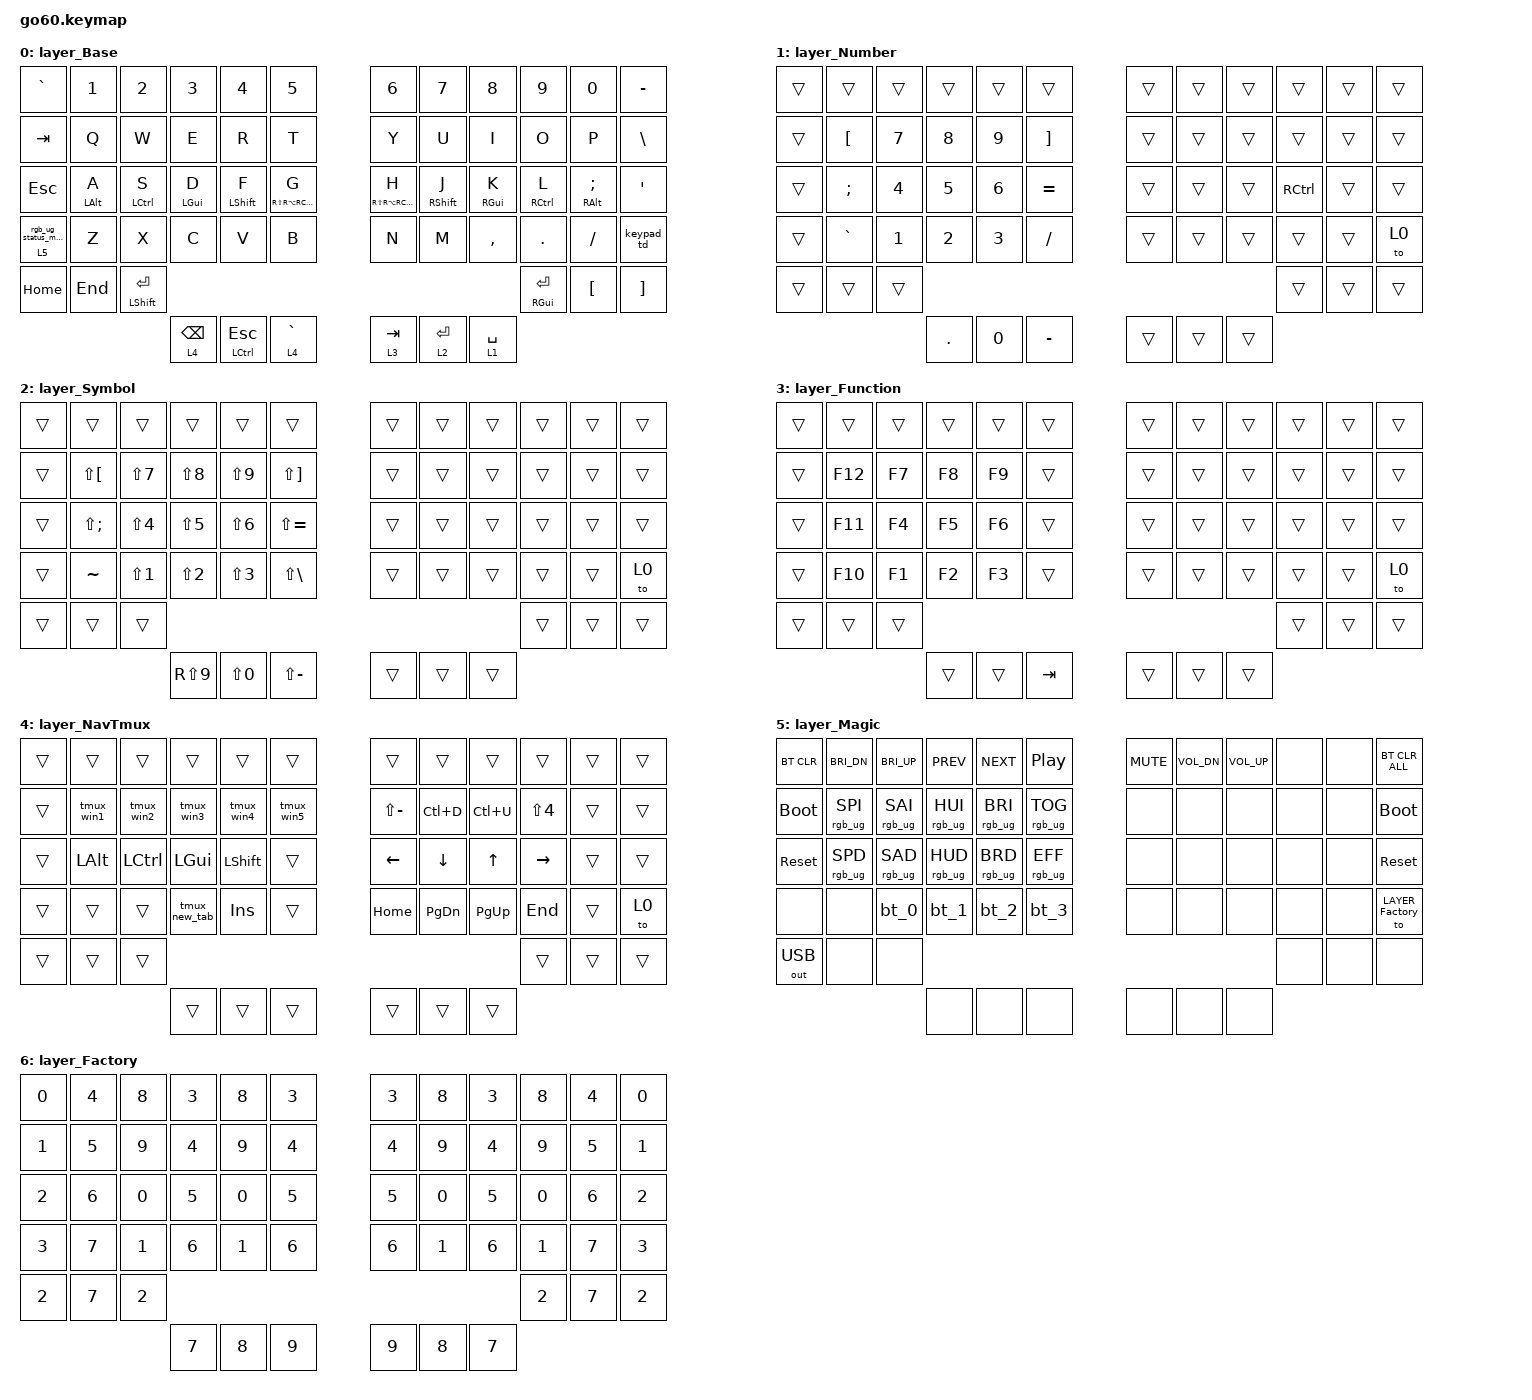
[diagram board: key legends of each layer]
/*
 * Copyright (c) 2020 The ZMK Contributors
 *
 * SPDX-License-Identifier: MIT
 */

#include <dt-bindings/zmk/input_transform.h>
#include <input/processors.dtsi>
#include <zephyr/dt-bindings/input/input-event-codes.h>
#include <behaviors.dtsi>
#include <dt-bindings/zmk/bt.h>
#include <dt-bindings/zmk/keys.h>
#include <dt-bindings/zmk/outputs.h>
#include <dt-bindings/zmk/rgb.h>

// layers

#define LAYER_Base 0
#define LAYER_Number 1
#define LAYER_Symbol 2
#define LAYER_Function 3
#define LAYER_NavTmux 4
#define LAYER_Mouse 5
#define LAYER_Magic 6
#define LAYER_Factory 7

/ {
    input_processors {
        zip_click_to_right_click_mapper: zip_click_to_right_click_mapper {
            compatible = "zmk,input-processor-code-mapper";
            #input-processor-cells = <0>;
            type = <INPUT_EV_KEY>;
            map = <INPUT_BTN_0 INPUT_BTN_1>;
        };
    };

    behaviors {
        magic: magic {
            compatible = "zmk,behavior-hold-tap";
            #binding-cells = <2>;
            flavor = "tap-preferred";
            tapping-term-ms = <200>;
            bindings = <&mo>, <&rgb_ug_status_macro>;
        };

        keypad_td: keypad_td {
            compatible = "zmk,behavior-tap-dance";
            #binding-cells = <0>;
            tapping-term-ms = <200>;
            bindings = <&mo 1>, <&to 1>;
        };

        mt_default: mt_default {
            compatible = "zmk,behavior-hold-tap";
            #binding-cells = <2>;
            tapping-term-ms = <200>;
            bindings = <&kp>, <&kp>;

            flavor = "balanced";
            quick-tap-ms = <150>;
            hold-trigger-key-positions = <>;
        };

        mt_slow: mt_slow {
            compatible = "zmk,behavior-hold-tap";
            #binding-cells = <2>;
            tapping-term-ms = <250>;
            bindings = <&kp>, <&kp>;

            flavor = "balanced";
            quick-tap-ms = <180>;
            hold-trigger-key-positions = <>;
            label = "MT_SLOW";
        };

        lt_qt: lt_qt {
            compatible = "zmk,behavior-hold-tap";
            #binding-cells = <2>;
            tapping-term-ms = <200>;
            bindings = <&mo>, <&kp>;

            flavor = "balanced";
            quick-tap-ms = <150>;
            hold-trigger-key-positions = <>;
            label = "LT_QT";
        };

        bt_0: bt_0 {
            compatible = "zmk,behavior-tap-dance";
            #binding-cells = <0>;
            tapping-term-ms = <200>;
            bindings = <&bt_select_0>, <&bt BT_DISC 0>;
        };

        bt_1: bt_1 {
            compatible = "zmk,behavior-tap-dance";
            #binding-cells = <0>;
            tapping-term-ms = <200>;
            bindings = <&bt_select_1>, <&bt BT_DISC 1>;
        };

        bt_2: bt_2 {
            compatible = "zmk,behavior-tap-dance";
            #binding-cells = <0>;
            tapping-term-ms = <200>;
            bindings = <&bt_select_2>, <&bt BT_DISC 2>;
        };

        bt_3: bt_3 {
            compatible = "zmk,behavior-tap-dance";
            #binding-cells = <0>;
            tapping-term-ms = <200>;
            bindings = <&bt_select_3>, <&bt BT_DISC 3>;
        };
    };

    macros {
        rgb_ug_status_macro: rgb_ug_status_macro {
            compatible = "zmk,behavior-macro";
            #binding-cells = <0>;
            bindings = <&rgb_ug RGB_STATUS>;
        };

        bt_select_0: bt_select_0 {
            compatible = "zmk,behavior-macro";
            #binding-cells = <0>;
            bindings = <&out OUT_BLE &bt BT_SEL 0>;
        };

        bt_select_1: bt_select_1 {
            compatible = "zmk,behavior-macro";
            #binding-cells = <0>;
            bindings = <&out OUT_BLE &bt BT_SEL 1>;
        };

        bt_select_2: bt_select_2 {
            compatible = "zmk,behavior-macro";
            #binding-cells = <0>;
            bindings = <&out OUT_BLE &bt BT_SEL 2>;
        };

        bt_select_3: bt_select_3 {
            compatible = "zmk,behavior-macro";
            #binding-cells = <0>;
            bindings = <&out OUT_BLE &bt BT_SEL 3>;
        };

        tmux_prefix: tmux_prefix {
            compatible = "zmk,behavior-macro";
            #binding-cells = <0>;
            bindings = <&kp LC(A)>;
        };

        tmux_win1: tmux_win1 {
            compatible = "zmk,behavior-macro";
            #binding-cells = <0>;
            bindings = <&tmux_prefix &kp N1>;
        };

        tmux_win2: tmux_win2 {
            compatible = "zmk,behavior-macro";
            #binding-cells = <0>;
            bindings = <&tmux_prefix &kp N2>;
        };

        tmux_win3: tmux_win3 {
            compatible = "zmk,behavior-macro";
            #binding-cells = <0>;
            bindings = <&tmux_prefix &kp N3>;
        };

        tmux_win4: tmux_win4 {
            compatible = "zmk,behavior-macro";
            #binding-cells = <0>;
            bindings = <&tmux_prefix &kp N4>;
        };

        tmux_win5: tmux_win5 {
            compatible = "zmk,behavior-macro";
            #binding-cells = <0>;
            bindings = <&tmux_prefix &kp N5>;
        };

        tmux_new_tab: tmux_new_tab {
            compatible = "zmk,behavior-macro";
            #binding-cells = <0>;
            bindings = <&tmux_prefix &kp C>;
        };

        tmux_sessions: tmux_sessions {
            compatible = "zmk,behavior-macro";
            #binding-cells = <0>;
            bindings = <&tmux_prefix &kp S>;
        };

        tmux_detach: tmux_detach {
            compatible = "zmk,behavior-macro";
            #binding-cells = <0>;
            bindings = <&tmux_prefix &kp D>;
        };

        tmux_rename: tmux_rename {
            compatible = "zmk,behavior-macro";
            #binding-cells = <0>;
            bindings = <&tmux_prefix &kp LS(N4)>;
        };

        tmux_prev_session: tmux_prev_session {
            compatible = "zmk,behavior-macro";
            #binding-cells = <0>;
            bindings = <&tmux_prefix &kp LS(N9)>;
        };

        tmux_next_session: tmux_next_session {
            compatible = "zmk,behavior-macro";
            #binding-cells = <0>;
            bindings = <&tmux_prefix &kp LS(N0)>;
        };
    };

    keymap {
        compatible = "zmk,keymap";

        layer_Base {
            bindings = <
&kp GRAVE   &kp N1           &kp N2            &kp N3              &kp N4                        &kp N5                                                                                                                               &kp N6                              &kp N7                       &kp N8              &kp N9            &kp N0              &kp MINUS
&kp TAB     &kp Q            &kp W             &kp E               &kp R                         &kp T                                                                                                                                &kp Y                               &kp U                        &kp I               &kp O             &kp P               &kp BSLH
&kp ESC     &mt_slow LALT A  &mt_slow LCTRL S  &mt_default LGUI D  &mt_default LSHFT F           &mt_default RS(RA(RC(RG(LGUI)))) G                                                                                                   &mt_default RS(RA(RC(RG(RGUI)))) H  &mt_default RSHFT J          &mt_default RGUI K  &mt_slow RCTRL L  &mt_slow RALT SEMI  &kp SQT
&magic 5 0  &kp Z            &kp X             &kp C               &kp V                         &kp B                                                                                                                                &kp N                               &kp M                        &kp COMMA           &kp DOT           &kp FSLH            &keypad_td
                             &kp HOME          &kp END             &mt_default LEFT_SHIFT ENTER                                                                                                                                                                           &mt_default RIGHT_GUI ENTER  &kp LBKT            &kp RBKT
                                                                                                                                     &lt_qt 4 BACKSPACE  &mt LCTRL ESC  &lt_qt 4 GRAVE  &lt_qt 3 TAB  &lt_qt 2 ENTER  &lt_qt 1 SPACE
            >;
        };

        layer_Number {
            bindings = <
&trans  &trans     &trans  &trans  &trans  &trans                                                         &trans  &trans  &trans  &trans     &trans  &trans
&trans  &kp LBKT   &kp N7  &kp N8  &kp N9  &kp RBKT                                                       &trans  &trans  &trans  &trans     &trans  &trans
&trans  &kp SEMI   &kp N4  &kp N5  &kp N6  &kp EQUAL                                                      &trans  &trans  &trans  &kp RCTRL  &trans  &trans
&trans  &kp GRAVE  &kp N1  &kp N2  &kp N3  &kp FSLH                                                       &trans  &trans  &trans  &trans     &trans  &to 0
                   &trans  &trans  &trans                                                                         &trans  &trans  &trans
                                                      &kp DOT  &kp N0  &kp MINUS  &trans  &trans  &trans
            >;
        };

        layer_Symbol {
            bindings = <
&trans  &trans        &trans      &trans      &trans      &trans                                                                        &trans  &trans  &trans  &trans  &trans  &trans
&trans  &kp LS(LBKT)  &kp LS(N7)  &kp LS(N8)  &kp LS(N9)  &kp LS(RBKT)                                                                  &trans  &trans  &trans  &trans  &trans  &trans
&trans  &kp LS(SEMI)  &kp LS(N4)  &kp LS(N5)  &kp LS(N6)  &kp LS(EQUAL)                                                                 &trans  &trans  &trans  &trans  &trans  &trans
&trans  &kp TILDE     &kp LS(N1)  &kp LS(N2)  &kp LS(N3)  &kp LS(BSLH)                                                                  &trans  &trans  &trans  &trans  &trans  &to 0
                      &trans      &trans      &trans                                                                                            &trans  &trans  &trans
                                                                         &kp RS(N9)  &kp LS(N0)  &kp LS(MINUS)  &trans  &trans  &trans
            >;
        };

        layer_Function {
            bindings = <
&trans  &trans   &trans  &trans  &trans  &trans                                                   &trans  &trans  &trans  &trans  &trans  &trans
&trans  &kp F12  &kp F7  &kp F8  &kp F9  &trans                                                   &trans  &trans  &trans  &trans  &trans  &trans
&trans  &kp F11  &kp F4  &kp F5  &kp F6  &trans                                                   &trans  &trans  &trans  &trans  &trans  &trans
&trans  &kp F10  &kp F1  &kp F2  &kp F3  &trans                                                   &trans  &trans  &trans  &trans  &trans  &to 0
                 &trans  &trans  &trans                                                                   &trans  &trans  &trans
                                                 &trans  &trans  &kp TAB  &trans  &trans  &trans
            >;
        };

        layer_NavTmux {
            bindings = <
&trans  &trans      &trans      &trans         &trans      &trans                                                      &trans         &trans     &trans     &trans      &trans  &trans
&trans  &tmux_win1  &tmux_win2  &tmux_win3     &tmux_win4  &tmux_win5                                                  &kp LS(MINUS)  &kp LC(D)  &kp LC(U)  &kp LS(N4)  &trans  &trans
&trans  &kp LALT    &kp LCTRL   &kp LGUI       &kp LSHFT   &trans                                                      &kp LEFT       &kp DOWN   &kp UP     &kp RIGHT   &trans  &trans
&trans  &trans      &trans      &tmux_new_tab  &kp INSERT  &trans                                                      &kp HOME       &kp PG_DN  &kp PG_UP  &kp END     &trans  &to 0
                    &trans      &trans         &trans                                                                                 &trans     &trans     &trans
                                                                       &trans  &trans  &trans  &trans  &trans  &trans
            >;
        };

        layer_Magic {
            bindings = <
&bt BT_CLR   &kp C_BRI_DN     &kp C_BRI_UP     &kp C_PREV       &kp C_NEXT       &kp C_PP                                                   &kp C_MUTE  &kp C_VOL_DN  &kp C_VOL_UP  &none  &none  &bt BT_CLR_ALL
&bootloader  &rgb_ug RGB_SPI  &rgb_ug RGB_SAI  &rgb_ug RGB_HUI  &rgb_ug RGB_BRI  &rgb_ug RGB_TOG                                            &none       &none         &none         &none  &none  &bootloader
&sys_reset   &rgb_ug RGB_SPD  &rgb_ug RGB_SAD  &rgb_ug RGB_HUD  &rgb_ug RGB_BRD  &rgb_ug RGB_EFF                                            &none       &none         &none         &none  &none  &sys_reset
&none        &none            &bt_0            &bt_1            &bt_2            &bt_3                                                      &none       &none         &none         &none  &none  &to LAYER_Factory
                              &out OUT_USB     &none            &none                                                                                   &none         &none         &none
                                                                                                  &none  &none  &none  &none  &none  &none
            >;
        };

        layer_Factory {
            bindings = <
&kp N0  &kp N4  &kp N8  &kp N3  &kp N8  &kp N3                                                  &kp N3  &kp N8  &kp N3  &kp N8  &kp N4  &kp N0
&kp N1  &kp N5  &kp N9  &kp N4  &kp N9  &kp N4                                                  &kp N4  &kp N9  &kp N4  &kp N9  &kp N5  &kp N1
&kp N2  &kp N6  &kp N0  &kp N5  &kp N0  &kp N5                                                  &kp N5  &kp N0  &kp N5  &kp N0  &kp N6  &kp N2
&kp N3  &kp N7  &kp N1  &kp N6  &kp N1  &kp N6                                                  &kp N6  &kp N1  &kp N6  &kp N1  &kp N7  &kp N3
                &kp N2  &kp N7  &kp N2                                                                  &kp N2  &kp N7  &kp N2
                                                &kp N7  &kp N8  &kp N9  &kp N9  &kp N8  &kp N7
            >;
        };
    };
};

&cirque_rh_listener {
    input-processors = <&zip_xy_scaler 3 1>;

    layer_2 {
        layers = <LAYER_Symbol>;
        input-processors = <&zip_xy_scaler 9 1>;
    };
};

&cirque_lh_listener {
    input-processors =
        <&zip_xy_to_scroll_mapper>,
        <&zip_xy_scaler 1 8>,
        <&zip_click_to_right_click_mapper>;

    layer_factory {
        layers = <LAYER_Factory>;
        input-processors = <&zip_xy_scaler 3 1>;
    };
};
